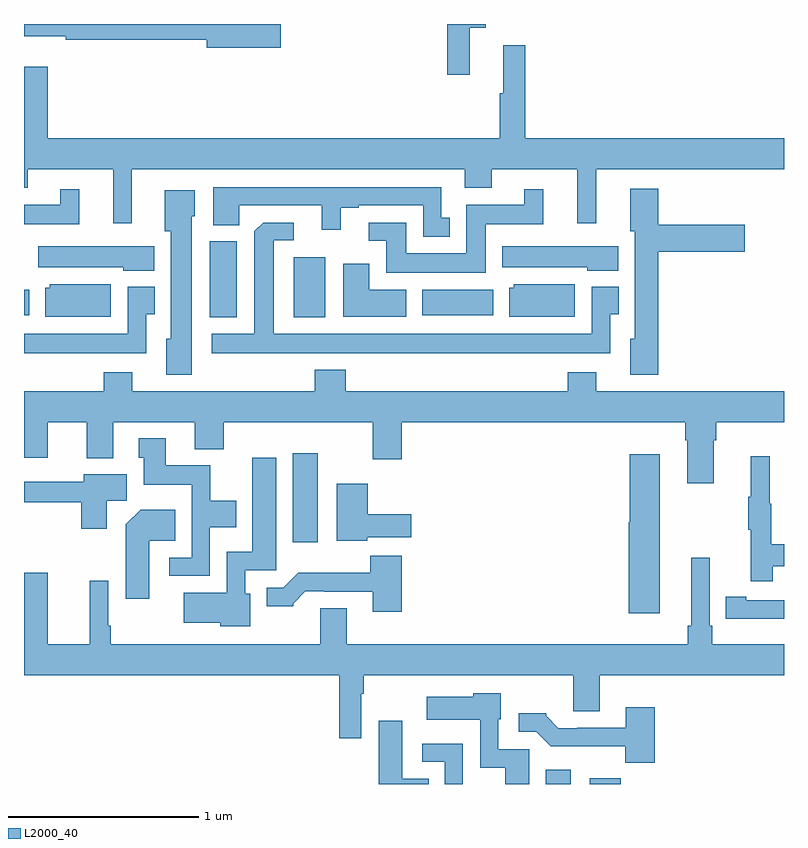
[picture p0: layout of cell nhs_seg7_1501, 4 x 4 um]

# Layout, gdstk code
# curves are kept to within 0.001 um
import gdstk
lib = gdstk.Library(unit=1e-6, precision=1e-09)
def R(c, l, rs):  # rectangles x0, y0, x1, y1
    for r in rs: c.add(gdstk.rectangle(r[:2], r[2:], *l))
def P(c, l, *ps):  # polygons
    for p in ps: c.add(gdstk.Polygon(p, *l))
L2000_40 = (2000, 40)

nhs_seg7_1501 = lib.new_cell('nhs_seg7_1501')
R(nhs_seg7_1501, L2000_40, [(215.747,1044,215.878,1044.076), (215.978,1044,216.14,1044.031), (214.415,1045.272,214.546,1045.741), (213.977,1046.456,214.12,1046.857), (214.421,1046.456,214.585,1046.773), (213,1046.468,213.028,1046.602), (215.096,1046.468,215.47,1046.602)])
P(nhs_seg7_1501, L2000_40, [(215.345,1047.98),(215.431,1047.98),(215.431,1048),(215.227,1048),(215.227,1047.732),(215.345,1047.732)],
  [(214.351,1048),(213,1048),(213,1047.935),(213.22,1047.935),(213.22,1047.916),(213.962,1047.916),(213.962,1047.874),(214.351,1047.874)],
  [(213.568,1047.236),(215.321,1047.236),(215.321,1047.137),(215.461,1047.137),(215.461,1047.236),(215.912,1047.236),(215.912,1046.952),(216.011,1046.952),(216.011,1047.236),(217,1047.236),(217,1047.4),(215.639,1047.4),(215.639,1047.889),(215.522,1047.889),(215.522,1047.636),(215.503,1047.636),(215.503,1047.4),(213.124,1047.4),(213.124,1047.775),(213,1047.775),(213,1047.137),(213.019,1047.137),(213.019,1047.236),(213.47,1047.236),(213.47,1046.952),(213.568,1046.952)],
  [(215.242,1046.979),(215.196,1046.979),(215.196,1047.141),(213.995,1047.141),(213.995,1046.942),(214.134,1046.942),(214.134,1047.045),(214.568,1047.045),(214.568,1046.916),(214.666,1046.916),(214.666,1047.033),(214.762,1047.033),(214.762,1047.045),(215.1,1047.045),(215.1,1046.879),(215.242,1046.879)],
  [(216.338,1046.801),(216.793,1046.801),(216.793,1046.943),(216.338,1046.943),(216.338,1047.133),(216.191,1047.133),(216.191,1046.91),(216.215,1046.91),(216.215,1046.343),(216.191,1046.343),(216.191,1046.153),(216.338,1046.153)],
  [(213.29,1047.13),(213.191,1047.13),(213.191,1047.049),(213,1047.049),(213,1046.945),(213.29,1046.945)],
  [(215.431,1046.945),(215.732,1046.945),(215.732,1047.13),(215.633,1047.13),(215.633,1047.049),(215.327,1047.049),(215.327,1046.794),(215.011,1046.794),(215.011,1046.955),(214.815,1046.955),(214.815,1046.859),(214.907,1046.859),(214.907,1046.69),(215.431,1046.69)],
  [(213.883,1046.988),(213.898,1046.988),(213.898,1047.124),(213.74,1047.124),(213.74,1046.91),(213.773,1046.91),(213.773,1046.343),(213.749,1046.343),(213.749,1046.153),(213.883,1046.153)],
  [(216.085,1046.473),(216.13,1046.473),(216.13,1046.617),(215.988,1046.617),(215.988,1046.371),(214.315,1046.371),(214.315,1046.862),(214.42,1046.862),(214.42,1046.955),(214.258,1046.955),(214.212,1046.909),(214.211,1046.371),(213.987,1046.371),(213.987,1046.267),(216.085,1046.267)],
  [(213.685,1046.83),(213.074,1046.83),(213.074,1046.72),(213.522,1046.72),(213.522,1046.702),(213.685,1046.702)],
  [(216.127,1046.83),(215.516,1046.83),(215.516,1046.72),(215.964,1046.72),(215.964,1046.702),(216.127,1046.702)],
  [(215.011,1046.602),(214.816,1046.602),(214.816,1046.737),(214.679,1046.737),(214.679,1046.459),(215.011,1046.459)],
  [(215.899,1046.629),(215.577,1046.629),(215.577,1046.613),(215.555,1046.613),(215.555,1046.459),(215.899,1046.459)],
  [(213.457,1046.629),(213.135,1046.629),(213.135,1046.613),(213.113,1046.613),(213.113,1046.459),(213.457,1046.459)],
  [(213.643,1046.473),(213.688,1046.473),(213.688,1046.617),(213.546,1046.617),(213.546,1046.371),(213,1046.371),(213,1046.267),(213.643,1046.267)],
  [(216.479,1045.808),(216.491,1045.808),(216.491,1045.584),(216.631,1045.584),(216.631,1045.808),(216.644,1045.808),(216.644,1045.904),(217,1045.904),(217,1046.068),(216.013,1046.068),(216.013,1046.167),(215.861,1046.167),(215.861,1046.068),(214.694,1046.068),(214.694,1046.179),(214.529,1046.179),(214.529,1046.068),(213.571,1046.068),(213.571,1046.167),(213.419,1046.167),(213.419,1046.068),(213,1046.068),(213,1045.716),(213.124,1045.716),(213.124,1045.904),(213.329,1045.904),(213.329,1045.715),(213.469,1045.715),(213.469,1045.904),(213.899,1045.904),(213.899,1045.763),(214.052,1045.763),(214.052,1045.904),(214.835,1045.904),(214.835,1045.71),(214.988,1045.71),(214.988,1045.904),(216.479,1045.904)],
  [(213.978,1045.352),(214.117,1045.352),(214.117,1045.492),(213.981,1045.492),(213.981,1045.678),(213.745,1045.678),(213.745,1045.819),(213.605,1045.819),(213.605,1045.716),(213.629,1045.716),(213.629,1045.574),(213.882,1045.574),(213.882,1045.191),(213.765,1045.191),(213.765,1045.095),(213.978,1045.095)],
  [(216.346,1045.735),(216.188,1045.735),(216.188,1045.377),(216.182,1045.377),(216.182,1044.9),(216.346,1044.9)],
  [(216.941,1045.146),(217,1045.146),(217,1045.262),(216.934,1045.262),(216.934,1045.476),(216.926,1045.476),(216.926,1045.726),(216.824,1045.726),(216.824,1045.513),(216.813,1045.513),(216.813,1045.339),(216.824,1045.339),(216.824,1045.068),(216.941,1045.068)],
  [(214.192,1045.002),(214.164,1045.002),(214.164,1045.125),(214.327,1045.125),(214.327,1045.717),(214.202,1045.717),(214.202,1045.222),(214.068,1045.222),(214.068,1045.006),(213.84,1045.006),(213.84,1044.848),(214.032,1044.848),(214.032,1044.83),(214.192,1044.83)],
  [(213.436,1045.492),(213.541,1045.492),(213.541,1045.63),(213.314,1045.63),(213.314,1045.59),(213,1045.59),(213,1045.482),(213.302,1045.482),(213.302,1045.344),(213.436,1045.344)],
  [(214.806,1045.298),(215.038,1045.298),(215.038,1045.42),(214.81,1045.42),(214.81,1045.579),(214.646,1045.579),(214.646,1045.28),(214.806,1045.28)],
  [(213.658,1045.28),(213.797,1045.28),(213.797,1045.444),(213.614,1045.444),(213.536,1045.366),(213.536,1044.975),(213.658,1044.975)],
  [(214.988,1045.201),(214.823,1045.201),(214.823,1045.111),(214.444,1045.111),(214.365,1045.032),(214.277,1045.032),(214.277,1044.935),(214.416,1044.935),(214.416,1044.95),(214.48,1045.014),(214.579,1045.014),(214.579,1045.011),(214.835,1045.011),(214.835,1044.906),(214.988,1044.906)],
  [(214.776,1044.476),(214.789,1044.476),(214.789,1044.572),(215.891,1044.572),(215.891,1044.382),(216.031,1044.382),(216.031,1044.572),(217,1044.572),(217,1044.736),(216.623,1044.736),(216.623,1044.832),(216.609,1044.832),(216.609,1045.192),(216.512,1045.192),(216.512,1044.832),(216.493,1044.832),(216.493,1044.736),(214.699,1044.736),(214.699,1044.926),(214.559,1044.926),(214.559,1044.736),(213.457,1044.736),(213.457,1044.832),(213.444,1044.832),(213.444,1045.069),(213.346,1045.069),(213.346,1044.736),(213.124,1044.736),(213.124,1045.111),(213,1045.111),(213,1044.572),(214.66,1044.572),(214.66,1044.24),(214.776,1044.24)],
  [(217,1044.966),(216.802,1044.966),(216.802,1044.986),(216.694,1044.986),(216.694,1044.87),(216.802,1044.87),(216.802,1044.869),(217,1044.869)],
  [(215.659,1044.183),(215.496,1044.183),(215.496,1044.342),(215.509,1044.342),(215.509,1044.478),(215.364,1044.478),(215.364,1044.46),(215.121,1044.46),(215.121,1044.338),(215.4,1044.338),(215.4,1044.086),(215.534,1044.086),(215.534,1044),(215.659,1044)],
  [(216.32,1044.403),(216.167,1044.403),(216.167,1044.297),(215.911,1044.297),(215.911,1044.294),(215.812,1044.294),(215.748,1044.358),(215.748,1044.373),(215.604,1044.373),(215.604,1044.276),(215.697,1044.276),(215.773,1044.2),(216.165,1044.2),(216.165,1044.113),(216.32,1044.113)],
  [(215.129,1044.028),(214.99,1044.028),(214.99,1044.334),(214.868,1044.334),(214.868,1044),(215.129,1044)],
  [(215.31,1044.213),(215.097,1044.213),(215.097,1044.117),(215.214,1044.117),(215.214,1044),(215.31,1044)])

lib.write_gds('nhs_seg7_1501.gds')
